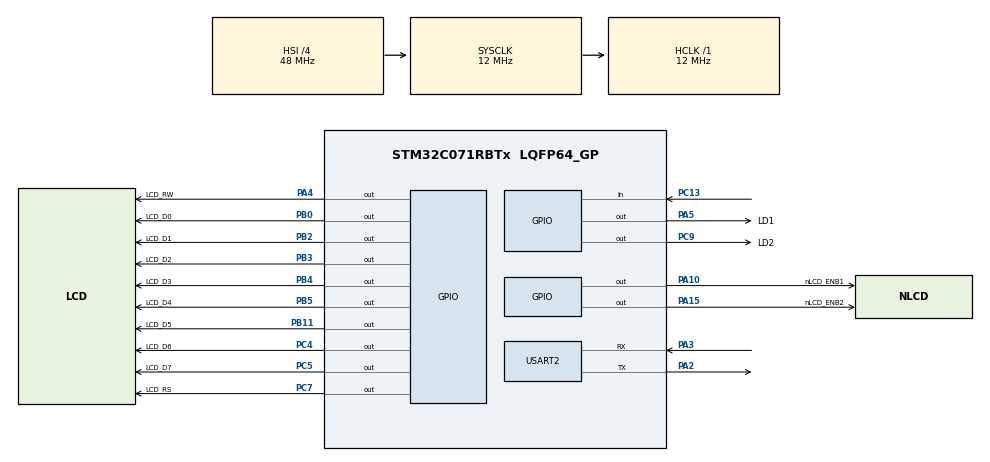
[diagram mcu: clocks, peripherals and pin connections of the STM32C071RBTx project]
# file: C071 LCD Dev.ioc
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Mcu.Family=STM32C0
Mcu.Name=STM32C071RBTx
Mcu.Package=LQFP64_GP
NVIC.USART2_IRQn=true\:0\:0\:false\:false\:true\:true\:true\:true
PA10.GPIO_Label=nLCD_ENB1
PA10.GPIO_ModeDefaultOutputPP=GPIO_MODE_OUTPUT_OD
PA10.GPIO_PuPd=GPIO_NOPULL
PA10.Signal=GPIO_Output
PA15.GPIO_Label=nLCD_ENB2
PA15.GPIO_ModeDefaultOutputPP=GPIO_MODE_OUTPUT_OD
PA15.GPIO_PuPd=GPIO_NOPULL
PA15.Signal=GPIO_Output
PA2.Mode=Asynchronous
PA2.Signal=USART2_TX
PA3.Mode=Asynchronous
PA3.Signal=USART2_RX
PA4.GPIO_Label=LCD_RW
PA4.GPIO_ModeDefaultOutputPP=GPIO_MODE_OUTPUT_OD
PA4.GPIO_PuPd=GPIO_NOPULL
PA4.Signal=GPIO_Output
PA5.GPIO_Label=LD1
PA5.Signal=GPIO_Output
PB0.GPIO_Label=LCD_D0
PB0.GPIO_ModeDefaultOutputPP=GPIO_MODE_OUTPUT_OD
PB0.GPIO_PuPd=GPIO_NOPULL
PB0.Signal=GPIO_Output
PB11.GPIO_Label=LCD_D5
PB11.GPIO_ModeDefaultOutputPP=GPIO_MODE_OUTPUT_OD
PB11.GPIO_PuPd=GPIO_NOPULL
PB11.Signal=GPIO_Output
PB2.GPIO_Label=LCD_D1
PB2.GPIO_ModeDefaultOutputPP=GPIO_MODE_OUTPUT_OD
PB2.GPIO_PuPd=GPIO_NOPULL
PB2.Signal=GPIO_Output
PB3.GPIO_Label=LCD_D2
PB3.GPIO_ModeDefaultOutputPP=GPIO_MODE_OUTPUT_OD
PB3.GPIO_PuPd=GPIO_NOPULL
PB3.Signal=GPIO_Output
PB4.GPIO_Label=LCD_D3
PB4.GPIO_ModeDefaultOutputPP=GPIO_MODE_OUTPUT_OD
PB4.GPIO_PuPd=GPIO_NOPULL
PB4.Signal=GPIO_Output
PB5.GPIO_Label=LCD_D4
PB5.GPIO_ModeDefaultOutputPP=GPIO_MODE_OUTPUT_OD
PB5.GPIO_PuPd=GPIO_NOPULL
PB5.Signal=GPIO_Output
PC13.Signal=GPIO_Input
PC4.GPIO_Label=LCD_D6
PC4.GPIO_ModeDefaultOutputPP=GPIO_MODE_OUTPUT_OD
PC4.GPIO_PuPd=GPIO_NOPULL
PC4.Signal=GPIO_Output
PC5.GPIO_Label=LCD_D7
PC5.GPIO_ModeDefaultOutputPP=GPIO_MODE_OUTPUT_OD
PC5.GPIO_PuPd=GPIO_NOPULL
PC5.Signal=GPIO_Output
PC7.GPIO_Label=LCD_RS
PC7.GPIO_ModeDefaultOutputPP=GPIO_MODE_OUTPUT_OD
PC7.GPIO_PuPd=GPIO_NOPULL
PC7.Signal=GPIO_Output
PC9.GPIO_Label=LD2
PC9.Signal=GPIO_Output
ProjectManager.HeapSize=0x200
ProjectManager.StackSize=0x400
ProjectManager.TargetToolchain=Makefile
RCC.ADCFreq_Value=12000000
RCC.AHBFreq_Value=12000000
RCC.CortexFreq_Value=12000000
RCC.EXTERNAL_CLOCK_VALUE=12288000
RCC.HCLKFreq_Value=12000000
RCC.HSE_VALUE=8000000
RCC.HSI48_VALUE=48000000
RCC.HSI_VALUE=48000000
RCC.LSE_VALUE=32768
RCC.SYSCLKFreq_VALUE=12000000
USART2.VirtualMode-Asynchronous=VM_ASYNC
board=NUCLEO-C071RB

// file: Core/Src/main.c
/* USER CODE BEGIN Header */
/**
  ******************************************************************************
  * @file           : main.c
  * @brief          : Main program body
  ******************************************************************************
  * @attention
  *
  * Copyright (c) 2026 STMicroelectronics.
  * All rights reserved.
  *
  * This software is licensed under terms that can be found in the LICENSE file
  * in the root directory of this software component.
  * If no LICENSE file comes with this software, it is provided AS-IS.
  *
  ******************************************************************************
  */
/* USER CODE END Header */
#include "main.h"

/* USER CODE BEGIN Includes */
#include <stdio.h>
#include "retarget.h"
#include "program_info.h"
#include "lcd_NHD-0440AZ.h"
/* USER CODE END Includes */

UART_HandleTypeDef huart2;

void SystemClock_Config(void);
static void MX_GPIO_Init(void);
static void MX_USART2_UART_Init(void);

/* USER CODE BEGIN 0 */

void Version_Display()	// Display firmware version and other program ID info
{
	printf ("%s%u.%u.%u (%s, %s)\n\r",
					PROG_NAME, VER_MAJOR, VER_MINOR, VER_PATCH, __DATE__, __TIME__);
}

/* USER CODE END 0 */

int main(void)
{

  /* MCU Configuration--------------------------------------------------------*/

  /* Reset of all peripherals, Initializes the Flash interface and the Systick. */
  HAL_Init();

  /* Configure the system clock */
  SystemClock_Config();

  /* Initialize all configured peripherals */
  MX_GPIO_Init();
  MX_USART2_UART_Init();
  /* USER CODE BEGIN 2 */
  RetargetInit(&huart2);

  Version_Display();
  printf("lcd_NHD-0440AZ v%u.%u.%u\n\r",
          LCD_NHD0440AZ_VER_MAJOR, LCD_NHD0440AZ_VER_MINOR, LCD_NHD0440AZ_VER_PATCH);

	const LCD_Config_t lcd_config = {
		.data = {
			{ LCD_D0_GPIO_Port, LCD_D0_Pin }, { LCD_D1_GPIO_Port, LCD_D1_Pin },
			{ LCD_D2_GPIO_Port, LCD_D2_Pin }, { LCD_D3_GPIO_Port, LCD_D3_Pin },
			{ LCD_D4_GPIO_Port, LCD_D4_Pin }, { LCD_D5_GPIO_Port, LCD_D5_Pin },
			{ LCD_D6_GPIO_Port, LCD_D6_Pin }, { LCD_D7_GPIO_Port, LCD_D7_Pin },
		},
		.rs   = { LCD_RS_GPIO_Port, LCD_RS_Pin },
		.rw   = { LCD_RW_GPIO_Port, LCD_RW_Pin },
		.enb1 = { nLCD_ENB1_GPIO_Port, nLCD_ENB1_Pin },
		.enb2 = { nLCD_ENB2_GPIO_Port, nLCD_ENB2_Pin },
	};
	LCD_Init(&lcd_config);

	// Test code: initialize the LCD and show some text on all 4 lines
	LCD_PowerOn();
	LCD_Display("line1 test", "line 2 test.......", "line 3 tesssssssst", "and line 4");

	// Superloop counter demo: counts up once per second, shown identically on
	// lines 1 and 3 (lines 2 and 4 keep whatever LCD_Display() above put there).
	uint32_t counter_value = 0;
	uint32_t counter_last_tick = HAL_GetTick();
	char counter_buf[12];
	snprintf(counter_buf, sizeof(counter_buf), "%lu", (unsigned long)counter_value);
	LCD_DisplayLine1(counter_buf);
	LCD_DisplayLine3(counter_buf);

  /* USER CODE END 2 */

  /* Infinite loop */
  while (1)
  {
    /* USER CODE BEGIN 3 */
	  if (HAL_GetTick() - counter_last_tick >= 1000)
	  {
		  counter_last_tick += 1000;
		  counter_value++;
		  snprintf(counter_buf, sizeof(counter_buf), "%lu", (unsigned long)counter_value);
		  LCD_DisplayLine1(counter_buf);
		  LCD_DisplayLine3(counter_buf);
	  }
  }
  /* USER CODE END 3 */
}

void SystemClock_Config(void)
{
  RCC_OscInitTypeDef RCC_OscInitStruct = {0};
  RCC_ClkInitTypeDef RCC_ClkInitStruct = {0};

  __HAL_FLASH_SET_LATENCY(FLASH_LATENCY_0);

  /** Initializes the RCC Oscillators according to the specified parameters
  * in the RCC_OscInitTypeDef structure.
  */
  RCC_OscInitStruct.OscillatorType = RCC_OSCILLATORTYPE_HSI;
  RCC_OscInitStruct.HSIState = RCC_HSI_ON;
  RCC_OscInitStruct.HSIDiv = RCC_HSI_DIV4;
  RCC_OscInitStruct.HSICalibrationValue = RCC_HSICALIBRATION_DEFAULT;
  if (HAL_RCC_OscConfig(&RCC_OscInitStruct) != HAL_OK)
  {
    Error_Handler();
  }

  /** Initializes the CPU, AHB and APB buses clocks
  */
  RCC_ClkInitStruct.ClockType = RCC_CLOCKTYPE_HCLK|RCC_CLOCKTYPE_SYSCLK
                              |RCC_CLOCKTYPE_PCLK1;
  RCC_ClkInitStruct.SYSCLKSource = RCC_SYSCLKSOURCE_HSI;
  RCC_ClkInitStruct.SYSCLKDivider = RCC_SYSCLK_DIV1;
  RCC_ClkInitStruct.AHBCLKDivider = RCC_HCLK_DIV1;
  RCC_ClkInitStruct.APB1CLKDivider = RCC_APB1_DIV1;

  if (HAL_RCC_ClockConfig(&RCC_ClkInitStruct, FLASH_LATENCY_0) != HAL_OK)
  {
    Error_Handler();
  }
}

static void MX_USART2_UART_Init(void)
{

  huart2.Instance = USART2;
  huart2.Init.BaudRate = 115200;
  huart2.Init.WordLength = UART_WORDLENGTH_8B;
  huart2.Init.StopBits = UART_STOPBITS_1;
  huart2.Init.Parity = UART_PARITY_NONE;
  huart2.Init.Mode = UART_MODE_TX_RX;
  huart2.Init.HwFlowCtl = UART_HWCONTROL_NONE;
  huart2.Init.OverSampling = UART_OVERSAMPLING_16;
  huart2.Init.OneBitSampling = UART_ONE_BIT_SAMPLE_DISABLE;
  huart2.Init.ClockPrescaler = UART_PRESCALER_DIV1;
  huart2.AdvancedInit.AdvFeatureInit = UART_ADVFEATURE_NO_INIT;
  if (HAL_UART_Init(&huart2) != HAL_OK)
  {
    Error_Handler();
  }
  if (HAL_UARTEx_SetTxFifoThreshold(&huart2, UART_TXFIFO_THRESHOLD_1_8) != HAL_OK)
  {
    Error_Handler();
  }
  if (HAL_UARTEx_SetRxFifoThreshold(&huart2, UART_RXFIFO_THRESHOLD_1_8) != HAL_OK)
  {
    Error_Handler();
  }
  if (HAL_UARTEx_DisableFifoMode(&huart2) != HAL_OK)
  {
    Error_Handler();
  }

}

static void MX_GPIO_Init(void)
{
  GPIO_InitTypeDef GPIO_InitStruct = {0};

  /* GPIO Ports Clock Enable */
  __HAL_RCC_GPIOC_CLK_ENABLE();
  __HAL_RCC_GPIOA_CLK_ENABLE();
  __HAL_RCC_GPIOB_CLK_ENABLE();

  /*Configure GPIO pin Output Level */
  HAL_GPIO_WritePin(GPIOA, LCD_RW_Pin|LD1_Pin|nLCD_ENB1_Pin|nLCD_ENB2_Pin, GPIO_PIN_RESET);

  /*Configure GPIO pin Output Level */
  HAL_GPIO_WritePin(GPIOC, LCD_D6_Pin|LCD_D7_Pin|LCD_RS_Pin|LD2_Pin, GPIO_PIN_RESET);

  /*Configure GPIO pin Output Level */
  HAL_GPIO_WritePin(GPIOB, LCD_D0_Pin|LCD_D1_Pin|LCD_D5_Pin|LCD_D2_Pin
                          |LCD_D3_Pin|LCD_D4_Pin, GPIO_PIN_RESET);

  /*Configure GPIO pin : PC13 */
  GPIO_InitStruct.Pin = GPIO_PIN_13;
  GPIO_InitStruct.Mode = GPIO_MODE_INPUT;
  GPIO_InitStruct.Pull = GPIO_NOPULL;
  HAL_GPIO_Init(GPIOC, &GPIO_InitStruct);

  /*Configure GPIO pins : LCD_RW_Pin nLCD_ENB1_Pin nLCD_ENB2_Pin */
  GPIO_InitStruct.Pin = LCD_RW_Pin|nLCD_ENB1_Pin|nLCD_ENB2_Pin;
  GPIO_InitStruct.Mode = GPIO_MODE_OUTPUT_OD;
  GPIO_InitStruct.Pull = GPIO_NOPULL;
  GPIO_InitStruct.Speed = GPIO_SPEED_FREQ_LOW;
  HAL_GPIO_Init(GPIOA, &GPIO_InitStruct);

  /*Configure GPIO pin : LD1_Pin */
  GPIO_InitStruct.Pin = LD1_Pin;
  GPIO_InitStruct.Mode = GPIO_MODE_OUTPUT_PP;
  GPIO_InitStruct.Pull = GPIO_NOPULL;
  GPIO_InitStruct.Speed = GPIO_SPEED_FREQ_LOW;
  HAL_GPIO_Init(LD1_GPIO_Port, &GPIO_InitStruct);

  /*Configure GPIO pins : LCD_D6_Pin LCD_D7_Pin LCD_RS_Pin */
  GPIO_InitStruct.Pin = LCD_D6_Pin|LCD_D7_Pin|LCD_RS_Pin;
  GPIO_InitStruct.Mode = GPIO_MODE_OUTPUT_OD;
  GPIO_InitStruct.Pull = GPIO_NOPULL;
  GPIO_InitStruct.Speed = GPIO_SPEED_FREQ_LOW;
  HAL_GPIO_Init(GPIOC, &GPIO_InitStruct);

  /*Configure GPIO pins : LCD_D0_Pin LCD_D1_Pin LCD_D5_Pin LCD_D2_Pin
                           LCD_D3_Pin LCD_D4_Pin */
  GPIO_InitStruct.Pin = LCD_D0_Pin|LCD_D1_Pin|LCD_D5_Pin|LCD_D2_Pin
                          |LCD_D3_Pin|LCD_D4_Pin;
  GPIO_InitStruct.Mode = GPIO_MODE_OUTPUT_OD;
  GPIO_InitStruct.Pull = GPIO_NOPULL;
  GPIO_InitStruct.Speed = GPIO_SPEED_FREQ_LOW;
  HAL_GPIO_Init(GPIOB, &GPIO_InitStruct);

  /*Configure GPIO pin : LD2_Pin */
  GPIO_InitStruct.Pin = LD2_Pin;
  GPIO_InitStruct.Mode = GPIO_MODE_OUTPUT_PP;
  GPIO_InitStruct.Pull = GPIO_NOPULL;
  GPIO_InitStruct.Speed = GPIO_SPEED_FREQ_LOW;
  HAL_GPIO_Init(LD2_GPIO_Port, &GPIO_InitStruct);

}

void Error_Handler(void)
{
  __disable_irq();
  while (1)
  {
  }
}
